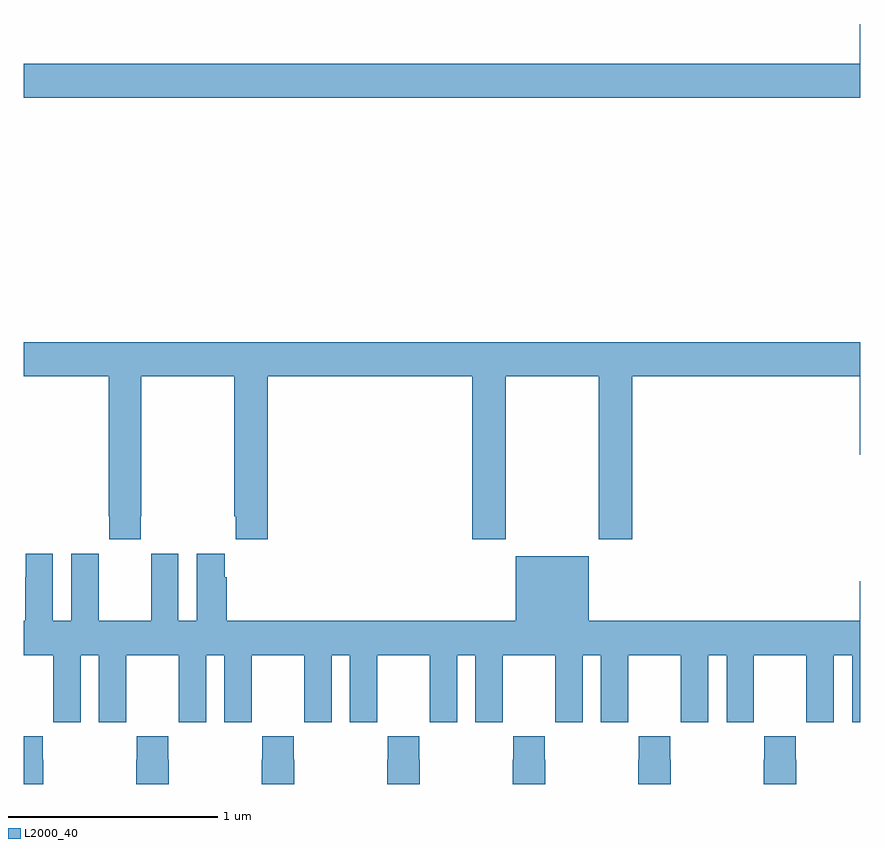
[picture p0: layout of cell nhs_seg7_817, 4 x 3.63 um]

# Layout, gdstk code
import gdstk
lib = gdstk.Library(unit=1e-6, precision=1e-09)
def P(c, l, *ps):  # polygons
    for p in ps: c.add(gdstk.Polygon(p, *l))
L2000_40 = (2000, 40)

nhs_seg7_817 = lib.new_cell('nhs_seg7_817')
P(nhs_seg7_817, L2000_40, [(177,1003.633),(176.996,1003.633),(176.996,1003.444),(173,1003.444),(173,1003.28),(177,1003.28)],
  [(173.559,1001.281),(173.562,1001.281),(173.562,1001.948),(174.007,1001.948),(174.007,1001.281),(174.013,1001.281),(174.013,1001.169),(174.167,1001.169),(174.167,1001.948),(175.145,1001.948),(175.145,1001.169),(175.305,1001.169),(175.305,1001.948),(175.75,1001.948),(175.75,1001.169),(175.91,1001.169),(175.91,1001.948),(176.996,1001.948),(176.996,1001.574),(177,1001.574),(177,1002.112),(173,1002.112),(173,1001.948),(173.407,1001.948),(173.407,1001.281),(173.409,1001.281),(173.409,1001.169),(173.559,1001.169)],
  [(173.972,1000.988),(173.962,1000.988),(173.962,1001.101),(173.828,1001.101),(173.828,1000.78),(173.74,1000.78),(173.74,1001.101),(173.61,1001.101),(173.61,1000.988),(173.609,1000.988),(173.609,1000.78),(173.359,1000.78),(173.359,1000.988),(173.358,1000.988),(173.358,1001.101),(173.228,1001.101),(173.228,1000.78),(173.14,1000.78),(173.14,1001.101),(173.01,1001.101),(173.01,1000.988),(173.009,1000.988),(173.009,1000.78),(173,1000.78),(173,1000.616),(173.141,1000.616),(173.141,1000.408),(173.142,1000.408),(173.142,1000.296),(173.272,1000.296),(173.272,1000.616),(173.36,1000.616),(173.36,1000.296),(173.49,1000.296),(173.49,1000.408),(173.491,1000.408),(173.491,1000.616),(173.741,1000.616),(173.741,1000.408),(173.742,1000.408),(173.742,1000.296),(173.872,1000.296),(173.872,1000.616),(173.96,1000.616),(173.96,1000.296),(174.09,1000.296),(174.09,1000.408),(174.091,1000.408),(174.091,1000.616),(174.341,1000.616),(174.341,1000.408),(174.342,1000.408),(174.342,1000.296),(174.472,1000.296),(174.472,1000.616),(174.56,1000.616),(174.56,1000.296),(174.69,1000.296),(174.69,1000.408),(174.691,1000.408),(174.691,1000.616),(174.941,1000.616),(174.941,1000.408),(174.942,1000.408),(174.942,1000.296),(175.072,1000.296),(175.072,1000.616),(175.16,1000.616),(175.16,1000.296),(175.29,1000.296),(175.29,1000.408),(175.291,1000.408),(175.291,1000.616),(175.541,1000.616),(175.541,1000.408),(175.542,1000.408),(175.542,1000.296),(175.672,1000.296),(175.672,1000.616),(175.76,1000.616),(175.76,1000.296),(175.89,1000.296),(175.89,1000.408),(175.891,1000.408),(175.891,1000.616),(176.141,1000.616),(176.141,1000.408),(176.142,1000.408),(176.142,1000.296),(176.272,1000.296),(176.272,1000.616),(176.36,1000.616),(176.36,1000.296),(176.49,1000.296),(176.49,1000.408),(176.491,1000.408),(176.491,1000.616),(176.741,1000.616),(176.741,1000.408),(176.742,1000.408),(176.742,1000.296),(176.872,1000.296),(176.872,1000.616),(176.96,1000.616),(176.96,1000.296),(177,1000.296),(177,1000.969),(176.996,1000.969),(176.996,1000.78),(175.702,1000.78),(175.702,1001.089),(175.352,1001.089),(175.352,1000.78),(173.972,1000.78)],
  [(173.094,1000.115),(173.091,1000.115),(173.091,1000.228),(173,1000.228),(173,1000),(173.094,1000)],
  [(174.294,1000.115),(174.291,1000.115),(174.291,1000.228),(174.141,1000.228),(174.141,1000.115),(174.139,1000.115),(174.139,1000),(174.294,1000)],
  [(173.694,1000.115),(173.691,1000.115),(173.691,1000.228),(173.541,1000.228),(173.541,1000.115),(173.539,1000.115),(173.539,1000),(173.694,1000)],
  [(176.694,1000.115),(176.691,1000.115),(176.691,1000.228),(176.541,1000.228),(176.541,1000.115),(176.539,1000.115),(176.539,1000),(176.694,1000)],
  [(174.741,1000.115),(174.739,1000.115),(174.739,1000),(174.894,1000),(174.894,1000.115),(174.891,1000.115),(174.891,1000.228),(174.741,1000.228)],
  [(175.494,1000.115),(175.491,1000.115),(175.491,1000.228),(175.341,1000.228),(175.341,1000.115),(175.339,1000.115),(175.339,1000),(175.494,1000)],
  [(176.094,1000.115),(176.091,1000.115),(176.091,1000.228),(175.941,1000.228),(175.941,1000.115),(175.939,1000.115),(175.939,1000),(176.094,1000)])

lib.write_gds('nhs_seg7_817.gds')
